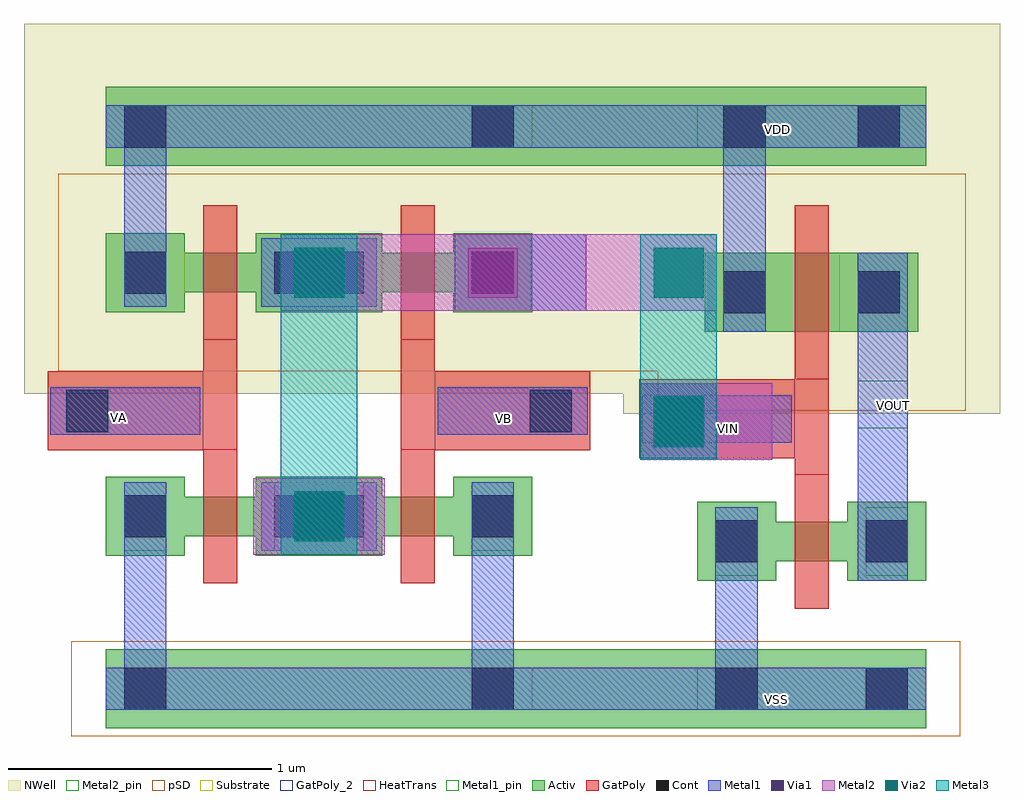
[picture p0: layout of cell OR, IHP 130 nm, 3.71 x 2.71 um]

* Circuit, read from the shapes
.subckt OR VA VB VDD VIN VOUT VSS
XM1 VIN VA VSS VSS sg13_lv_nmos w=0.15u l=0.13u
XM2 VSS VB VIN VSS sg13_lv_nmos w=0.15u l=0.13u
XM3 VOUT VIN VSS VSS sg13_lv_nmos w=0.15u l=0.13u
XM4 n1 VA VDD VDD sg13_lv_pmos w=0.15u l=0.13u
XM5 VIN VB n1 VDD sg13_lv_pmos w=0.15u l=0.13u
XM6 VOUT VIN VDD VDD sg13_lv_pmos w=0.3u l=0.13u
.ends

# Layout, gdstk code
from math import pi, radians
import gdstk
lib = gdstk.Library(unit=1e-6, precision=5e-09)
def R(c, l, rs):  # rectangles x0, y0, x1, y1
    for r in rs: c.add(gdstk.rectangle(r[:2], r[2:], *l))
def P(c, l, *ps):  # polygons
    for p in ps: c.add(gdstk.Polygon(p, *l))
Activ = (1, 0)
GatPoly = (5, 0)
GatPoly_2 = (5, 2)
Cont = (6, 0)
Metal1 = (8, 0)
Metal1_pin = (8, 2)
Metal2 = (10, 0)
Metal2_pin = (10, 2)
pSD = (14, 0)
Via1 = (19, 0)
Via2 = (29, 0)
Metal3 = (30, 0)
NWell = (31, 0)
Substrate = (40, 0)
HeatTrans = (51, 0)

via2_constraint = lib.new_cell('Via2_constraint')
R(via2_constraint, Metal2, [(0,-0.055,0.29,0.235)])
R(via2_constraint, Via2, [(0.05,-0.005,0.24,0.185)])
R(via2_constraint, Metal3, [(0,-0.055,0.29,0.235)])

via1_constraint = lib.new_cell('Via1_constraint')
R(via1_constraint, Metal1, [(0,-0.055,0.29,0.235)])
R(via1_constraint, Metal2, [(0,-0.055,0.29,0.235)])
R(via1_constraint, Via1, [(0.05,-0.005,0.24,0.185)])

via1_constraint_1 = lib.new_cell('Via1_constraint$1')
R(via1_constraint_1, Metal1, [(0,0,0.29,0.29)])
R(via1_constraint_1, Metal2, [(0,0,0.29,0.29)])
R(via1_constraint_1, Via1, [(0.05,0.05,0.24,0.24)])

via2_constraint_1 = lib.new_cell('Via2_constraint$1')
R(via2_constraint_1, Metal2, [(0,0,0.29,0.29)])
R(via2_constraint_1, Via2, [(0.05,0.05,0.24,0.24)])
R(via2_constraint_1, Metal3, [(0,0,0.29,0.29)])

nmos = lib.new_cell('nmos')
R(nmos, Activ, [(0,0,0.3,0.3), (0.57,0,0.87,0.3), (0,0.075,0.87,0.225)])
R(nmos, GatPoly, [(0.37,-0.105,0.5,0.405)])
R(nmos, GatPoly_2, [(0.37,-0.105,0.5,0.405)])
R(nmos, Cont, [(0.07,0.07,0.23,0.23), (0.64,0.07,0.8,0.23)])
R(nmos, Metal1, [(0.07,0.02,0.23,0.28), (0.64,0.02,0.8,0.28)])
R(nmos, Metal1_pin, [(0.07,0.02,0.23,0.28), (0.64,0.02,0.8,0.28)])
R(nmos, HeatTrans, [(0.37,-0.105,0.5,0.405)])
nmos.add(gdstk.Label('nmos', (0.435,0.15), layer=63, texttype=0))
nmos.add(gdstk.Label('nmos', (0.435,0.15), layer=51, texttype=0))

pmos = lib.new_cell('pmos')
R(pmos, Activ, [(0,0,0.3,0.3), (0.57,0,0.87,0.3), (0,0.075,0.87,0.225)])
R(pmos, GatPoly, [(0.37,-0.105,0.5,0.405), (0.37,-0.105,0.5,0.405)])
R(pmos, Cont, [(0.07,0.07,0.23,0.23), (0.64,0.07,0.8,0.23)])
R(pmos, Metal1, [(0.07,0.02,0.23,0.28), (0.07,0.02,0.23,0.28), (0.64,0.02,0.8,0.28), (0.64,0.02,0.8,0.28)])
R(pmos, pSD, [(-0.18,-0.225,1.05,0.525)])
R(pmos, NWell, [(-0.345,-0.31,1.18,0.61)])
R(pmos, Substrate, [(0.57,0,0.87,0.3)])
R(pmos, HeatTrans, [(0.37,-0.105,0.5,0.405)])
pmos.add(gdstk.Label('pmos', (0.435,0.15), layer=63, texttype=0))
pmos.add(gdstk.Label('pmos', (0.435,0.15), layer=51, texttype=0))

nor = lib.new_cell('NOR')
R(nor, Activ, [(0.31,-0.065,1.93,0.235), (0.31,2.07,1.93,2.37)])
R(nor, GatPoly, [(0.09,0.99,0.68,1.29), (1.56,0.99,2.15,1.29), (0.68,0.995,0.81,1.41), (1.43,0.995,1.56,1.41)])
R(nor, GatPoly_2, [(0.09,0.99,0.68,1.29), (1.56,0.99,2.15,1.29)])
R(nor, Cont, [(1.7,0.005,1.86,0.165), (0.95,0.66,1.29,0.82), (0.16,1.06,0.32,1.22), (1.92,1.06,2.08,1.22), (0.95,1.585,1.29,1.745), (0.38,2.14,0.54,2.3), (1.7,2.14,1.86,2.3)])
P(nor, Cont, [(0.38,0.005),(0.38,0.165),(0.46,0.165),(0.54,0.165),(0.54,0.005)])
R(nor, Metal1, [(0.31,0.005,1.93,0.165), (0.9,0.61,1.34,0.87), (0.1,1.05,0.67,1.23), (1.57,1.05,2.14,1.23), (0.105,1.52,0.315,1.81), (0.9,1.535,1.34,1.795), (0.31,2.14,1.93,2.3)])
R(nor, Metal1_pin, [(0.31,0.005,1.93,0.165), (0.1,1.05,0.67,1.23), (1.57,1.05,2.14,1.23), (0.31,2.14,1.93,2.3)])
R(nor, Metal2, [(0.87,0.595,1.37,0.885)])
R(nor, Metal2_pin, [(0.315,1.52,0.605,1.81)])
R(nor, pSD, [(0.18,-0.095,2.06,0.265)])
R(nor, NWell, [(-0.035,2.125,2.24,2.61)])
nor.add(gdstk.FlexPath([(0.605,1.665),(0.975,1.665)], 0.29, ends="flush", simple_path=True, layer=10, datatype=0))  # Metal2
nor.add(gdstk.FlexPath([(1.12,0.885),(1.12,1.52)], 0.29, ends="flush", simple_path=True, layer=30, datatype=0))  # Metal3
nor.add(gdstk.FlexPath([(1.78,1.795),(1.78,2.14)], 0.16, ends="flush", simple_path=True, layer=8, datatype=0))  # Metal1
nor.add(gdstk.FlexPath([(1.78,0.61),(1.78,0.165)], 0.16, ends="flush", simple_path=True, layer=8, datatype=0))  # Metal1
nor.add(gdstk.FlexPath([(0.46,0.61),(0.46,0.26),(0.46,0.165)], 0.16, ends="flush", simple_path=True, layer=8, datatype=0))  # Metal1
nor.add(gdstk.Reference(via1_constraint_1, (0.975,0.595)))
nor.add(gdstk.Reference(via2_constraint_1, (0.975,0.595)))
nor.add(gdstk.Reference(via2_constraint_1, (0.975,1.52)))
nor.add(gdstk.Reference(via1_constraint_1, (0.315,1.52)))
nor.add(gdstk.Reference(nmos, (1.06,0.59)))
nor.add(gdstk.Reference(nmos, (0.31,0.59)))
nor.add(gdstk.Reference(pmos, (1.06,1.515)))
nor.add(gdstk.Reference(pmos, (0.31,1.515)))
nor.add(gdstk.Label('VDD', (0.605,2.215), layer=8, texttype=25))
nor.add(gdstk.Label('VSS', (0.6,0.055), layer=8, texttype=25))
nor.add(gdstk.Label('VA', (1.99,1.125), layer=8, texttype=25))
nor.add(gdstk.Label('VB', (0.205,1.14), layer=8, texttype=25))
nor.add(gdstk.Label('VOUT', (0.325,1.555), layer=10, texttype=25))

nmos_1 = lib.new_cell('nmos$1')
R(nmos_1, Activ, [(0,-0.025,0.3,0.275), (0.57,-0.025,0.87,0.275), (0,0.05,0.87,0.2)])
R(nmos_1, GatPoly, [(0.37,-0.13,0.5,0.38)])
R(nmos_1, GatPoly_2, [(0.37,-0.13,0.5,0.38)])
R(nmos_1, Cont, [(0.07,0.045,0.23,0.205), (0.64,0.045,0.8,0.205)])
R(nmos_1, Metal1, [(0.07,-0.005,0.23,0.255), (0.64,-0.005,0.8,0.255)])
R(nmos_1, Metal1_pin, [(0.07,-0.005,0.23,0.255), (0.64,-0.005,0.8,0.255)])
R(nmos_1, HeatTrans, [(0.37,-0.13,0.5,0.38)])
nmos_1.add(gdstk.Label('nmos', (0.435,0.125), layer=63, texttype=0))
nmos_1.add(gdstk.Label('nmos', (0.435,0.125), layer=51, texttype=0))

pmos_1 = lib.new_cell('pmos$1')
R(pmos_1, Activ, [(0,0,0.3,0.3), (0,0,0.81,0.3), (0.51,0,0.81,0.3)])
R(pmos_1, GatPoly, [(0.34,-0.18,0.47,0.48), (0.34,-0.18,0.47,0.48)])
R(pmos_1, Cont, [(0.07,0.07,0.23,0.23), (0.58,0.07,0.74,0.23)])
R(pmos_1, Metal1, [(0.07,0,0.23,0.3), (0.07,0,0.23,0.3), (0.58,0,0.74,0.3), (0.58,0,0.74,0.3)])
R(pmos_1, pSD, [(-0.18,-0.3,0.99,0.6)])
R(pmos_1, NWell, [(-0.31,-0.31,1.12,0.61)])
R(pmos_1, Substrate, [(0.51,0,0.81,0.3)])
R(pmos_1, HeatTrans, [(0.34,-0.18,0.47,0.48)])
pmos_1.add(gdstk.Label('pmos', (0.405,0.15), layer=63, texttype=0))
pmos_1.add(gdstk.Label('pmos', (0.405,0.15), layer=51, texttype=0))

inv_d1 = lib.new_cell('INV_D1')
R(inv_d1, Activ, [(0.28,0,1.15,0.3), (0.28,2.135,1.15,2.435)])
R(inv_d1, GatPoly, [(0.06,1.025,0.65,1.325), (0.65,1.11,0.78,1.325)])
R(inv_d1, GatPoly_2, [(0.06,1.025,0.65,1.325)])
R(inv_d1, Cont, [(0.35,0.07,0.51,0.23), (0.92,0.07,1.08,0.23), (0.13,1.095,0.29,1.255), (0.38,2.205,0.54,2.365), (0.89,2.205,1.05,2.365)])
R(inv_d1, Metal1, [(0.28,0.07,1.15,0.23), (0.07,1.085,0.64,1.265), (0.28,2.205,1.15,2.365)])
R(inv_d1, Metal1_pin, [(0.28,0.07,1.15,0.23), (0.07,1.085,0.64,1.265), (0.89,1.14,1.08,1.32), (0.28,2.205,1.15,2.365)])
R(inv_d1, pSD, [(0.15,-0.03,1.28,0.33)])
R(inv_d1, NWell, [(0,2.115,1.43,2.675)])
R(inv_d1, Substrate, [(0.82,1.505,1.12,1.805)])
inv_d1.add(gdstk.FlexPath([(0.985,0.56),(0.985,1.805)], 0.19, ends="flush", simple_path=True, layer=8, datatype=0))  # Metal1
inv_d1.add(gdstk.FlexPath([(0.43,0.84),(0.43,0.23)], 0.16, ends="flush", simple_path=True, layer=8, datatype=0))  # Metal1
inv_d1.add(gdstk.FlexPath([(0.46,1.805),(0.46,2.365)], 0.16, ends="flush", simple_path=True, layer=8, datatype=0))  # Metal1
inv_d1.add(gdstk.FlexPath([(0.715,1.11),(0.715,0.965)], 0.13, ends="flush", simple_path=True, layer=5, datatype=0))  # GatPoly
inv_d1.add(gdstk.Reference(nmos_1, (0.28,0.585)))
inv_d1.add(gdstk.Reference(pmos_1, (0.31,1.505)))
inv_d1.add(gdstk.Label('nmos', (0.715,0.63), layer=63, texttype=0))
inv_d1.add(gdstk.Label('VIN', (0.285,1.12), layer=8, texttype=25))
inv_d1.add(gdstk.Label('VSS', (0.65,0.145), layer=8, texttype=25))
inv_d1.add(gdstk.Label('VOUT', (1.03,1.165), layer=8, texttype=25))
inv_d1.add(gdstk.Label('VDD', (0.655,2.28), layer=8, texttype=25))

c_or = lib.new_cell('OR')
R(c_or, Activ, [(1.93,1.515,2.555,1.815), (1.93,3.65,2.555,3.95)])
R(c_or, Metal1, [(1.93,1.585,2.555,1.745), (1.93,3.72,2.555,3.88)])
R(c_or, Metal2, [(2.63,2.535,2.84,2.825)])
R(c_or, pSD, [(2.06,1.485,2.425,1.845), (2.11,2.87,2.405,3.62)])
c_or.add(gdstk.FlexPath([(1.925,3.245),(2.34,3.245)], 0.29, ends="flush", simple_path=True, layer=10, datatype=0))  # Metal2
c_or.add(gdstk.FlexPath([(2.485,3.1),(2.485,2.825)], 0.29, ends="flush", simple_path=True, layer=30, datatype=0))  # Metal3
c_or.add(gdstk.Reference(via2_constraint, (2.34,3.155)))
c_or.add(gdstk.Reference(via1_constraint, (2.34,2.59)))
c_or.add(gdstk.Reference(via2_constraint, (2.34,2.59)))
c_or.add(gdstk.Reference(nor, (2.24,1.58), rotation=pi, x_reflection=True))
c_or.add(gdstk.Reference(inv_d1, (2.275,1.515)))
c_or.add(gdstk.Label('VA', (0.36,2.695), layer=8, texttype=25))
c_or.add(gdstk.Label('VB', (1.82,2.69), layer=8, texttype=25))
c_or.add(gdstk.Label('VIN', (2.675,2.655), layer=8, texttype=25))
c_or.add(gdstk.Label('VOUT', (3.3,2.74), layer=8, texttype=25))
c_or.add(gdstk.Label('VSS', (2.855,1.625), layer=8, texttype=25))
c_or.add(gdstk.Label('VDD', (2.86,3.79), layer=8, texttype=25))

lib.write_gds('OR.gds')
